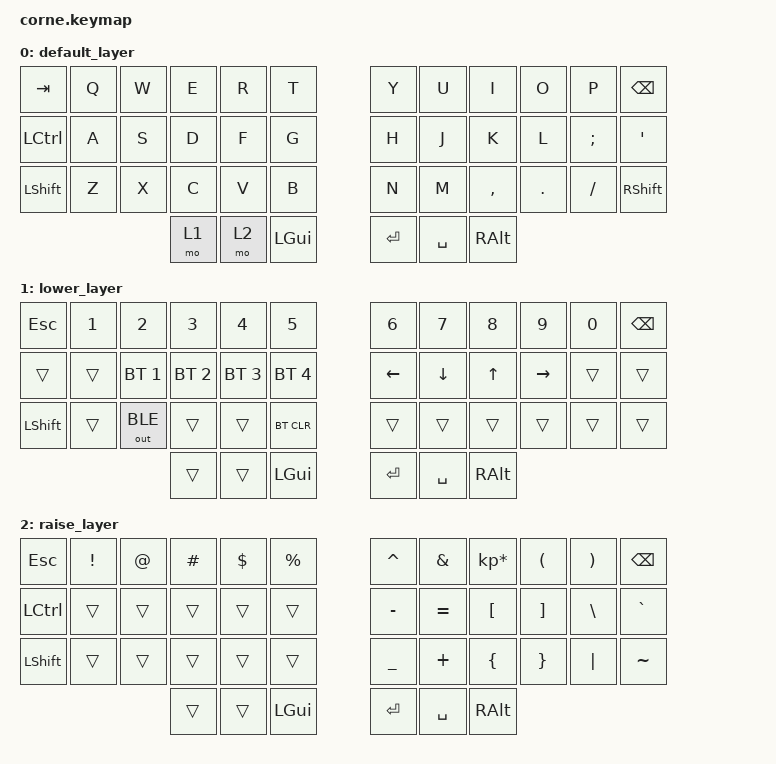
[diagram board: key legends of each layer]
/*
 * Copyright (c) 2020 The ZMK Contributors
 *
 * SPDX-License-Identifier: MIT
 */

#include <behaviors.dtsi>
#include <dt-bindings/zmk/keys.h>
#include <dt-bindings/zmk/bt.h>
#include <dt-bindings/zmk/outputs.h>

/ {
        keymap {
                compatible = "zmk,keymap";

                default_layer {
// -----------------------------------------------------------------------------------------
// |  TAB |  Q  |  W  |  E  |  R  |  T  |   |  Y  |  U   |  I  |  O  |  P  | BKSP |
// | CTRL |  A  |  S  |  D  |  F  |  G  |   |  H  |  J   |  K  |  L  |  ;  |  '   |
// | SHFT |  Z  |  X  |  C  |  V  |  B  |   |  N  |  M   |  ,  |  .  |  /  | SHFT |
//                    | GUI | LWR | SPC |   | ENT | RSE  | ALT |
                        bindings = <
   &kp TAB   &kp Q &kp W &kp E &kp R &kp T   &kp Y &kp U  &kp I     &kp O   &kp P    &kp BSPC
   &kp LCTRL &kp A &kp S &kp D &kp F &kp G   &kp H &kp J  &kp K     &kp L   &kp SEMI &kp SQT
   &kp LSHFT &kp Z &kp X &kp C &kp V &kp B   &kp N &kp M  &kp COMMA &kp DOT &kp FSLH &kp RSHFT
                  &mo 1 &mo 2 &kp LGUI       &kp RET &kp SPACE &kp RALT
                        >;
                };
                lower_layer {
// -----------------------------------------------------------------------------------------
// |  ESC |  1  |  2  |  3  |  4  |  5  |   |  6  |  7  |  8  |  9  |  0  | BKSP |
// | BTCLR| BT1 | BT2 | BT3 | BT4 | BT5 |   | LFT | DWN |  UP | RGT |     |      |
// | SHFT | TOG |     |     |     |     |   |     |     |     |     |     |      |
//                    | GUI |     | SPC |   | ENT |     | ALT |
                        bindings = <
   &kp ESC    &kp  N1  &kp  N2       &kp N3       &kp N4       &kp N5         &kp N6   &kp N7    &kp N8 &kp N9    &kp N0 &kp BSPC
   &trans     &trans   &bt  BT_SEL 1 &bt BT_SEL 2 &bt BT_SEL 3 &bt BT_SEL 4   &kp LEFT &kp DOWN  &kp UP &kp RIGHT &trans &trans
   &kp LSHFT  &trans   &out OUT_BLE  &trans       &trans       &bt  BT_CLR    &trans   &trans    &trans &trans    &trans &trans
                    	                &trans       &trans       &kp LGUI       &kp RET  &kp SPACE &kp RALT
                        >;
                };

                raise_layer {
// -----------------------------------------------------------------------------------------
// |  ESC |  !  |  @  |  #  |  $  |  %  |   |  ^  |  &  |  *  |  (  |  )  | BKSP |
// | CTRL |     |     |     |     |     |   |  -  |  =  |  [  |  ]  |  \  |  `   |
// | SHFT |     |     |     |     |     |   |  _  |  +  |  {  |  }  | "|" |  ~   |
//                    |     |     | GUI |   | ENT | SPC | ALT |
                        bindings = <
   &kp  ESC  &kp EXCL &kp AT &kp HASH &kp DLLR &kp PRCNT   &kp CARET &kp AMPS  &kp KP_MULTIPLY &kp LPAR &kp RPAR &kp BSPC
   &kp LCTRL &trans   &trans &trans   &trans   &trans      &kp MINUS &kp EQUAL &kp LBKT        &kp RBKT &kp BSLH &kp GRAVE
   &kp LSHFT &trans   &trans &trans   &trans   &trans      &kp UNDER &kp PLUS  &kp LBRC        &kp RBRC &kp PIPE &kp TILDE
                    	     &trans   &trans   &kp LGUI    &kp RET   &kp SPACE &kp RALT
                        >;
                };
        };
};
